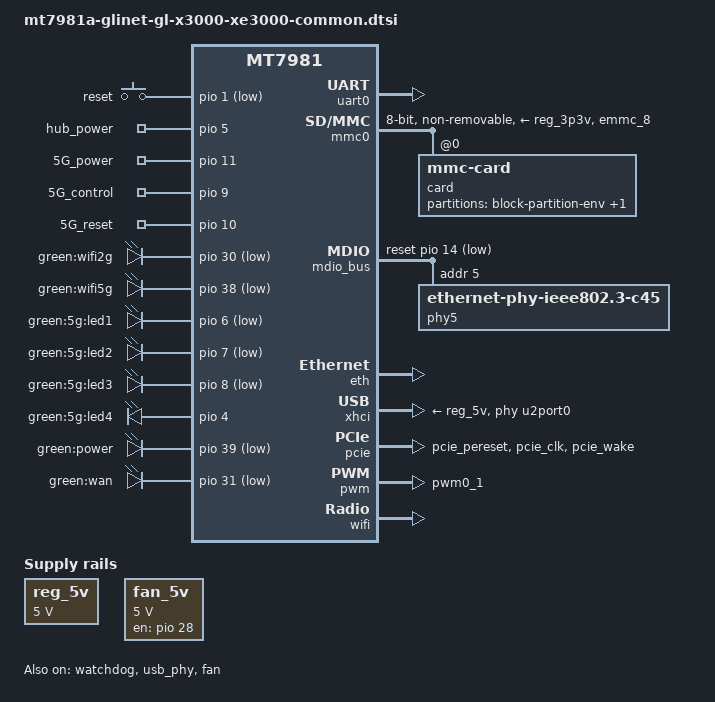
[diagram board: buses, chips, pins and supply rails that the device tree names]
// SPDX-License-Identifier: GPL-2.0-or-later OR MIT

/dts-v1/;

#include "mt7981.dtsi"

/ {
	chosen {
		bootargs = "console=ttyS0,115200n8 root=PARTLABEL=rootfs rootwait";
	};

	aliases {
		label-mac-device = &gmac0;
		led-boot = &led_power;
		led-failsafe = &led_power;
		led-running = &led_power;
		led-upgrade = &led_power;
	};

	reg_5v: regulator-5v {
		compatible = "regulator-fixed";
		regulator-name = "fixed-5V";
		regulator-min-microvolt = <5000000>;
		regulator-max-microvolt = <5000000>;
		regulator-boot-on;
		regulator-always-on;
	};

	fan_5v: regulator-fan-5v {
		compatible = "regulator-fixed";
		regulator-name = "fan";
		regulator-min-microvolt = <5000000>;
		regulator-max-microvolt = <5000000>;
		gpio = <&pio 28 GPIO_ACTIVE_HIGH>;
		enable-active-high;
	};

	gpio-keys {
		compatible = "gpio-keys";

		reset {
			label = "reset";
			linux,code = <KEY_RESTART>;
			gpios = <&pio 1 GPIO_ACTIVE_LOW>;
		};
	};

	gpio-export {
		compatible = "gpio-export";

		hub_power {
			gpio-export,name = "hub_power";
			gpio-export,output = <1>;
			gpios = <&pio 5 GPIO_ACTIVE_HIGH>;
		};

		5G_power {
			gpio-export,name = "5G_power";
			gpio-export,output = <1>;
			gpios = <&pio 11 GPIO_ACTIVE_HIGH>;
		};

		5G_control {
			gpio-export,name = "5G_control";
			gpio-export,output = <1>;
			gpios = <&pio 9 GPIO_ACTIVE_HIGH>;
		};

		5G_reset {
			gpio-export,name = "5G_reset";
			gpio-export,output = <0>;
			gpios = <&pio 10 GPIO_ACTIVE_HIGH>;
		};
	};

	leds {
		compatible = "gpio-leds";

		wifi2g {
			label = "green:wifi2g";
			gpios = <&pio 30 GPIO_ACTIVE_LOW>;
		};

		wifi5g {
			label = "green:wifi5g";
			gpios = <&pio 38 GPIO_ACTIVE_LOW>;
		};

		5g_led1 {
			label = "green:5g:led1";
			gpios = <&pio 6 GPIO_ACTIVE_LOW>;
		};

		5g_led2 {
			label = "green:5g:led2";
			gpios = <&pio 7 GPIO_ACTIVE_LOW>;
		};

		5g_led3 {
			label = "green:5g:led3";
			gpios = <&pio 8 GPIO_ACTIVE_LOW>;
		};

		5g_led4 {
			label = "green:5g:led4";
			gpios = <&pio 4 GPIO_ACTIVE_HIGH>;
		};

		led_power: power {
			label = "green:power";
			gpios = <&pio 39 GPIO_ACTIVE_LOW>;
		};

		wan {
			label = "green:wan";
			gpios = <&pio 31 GPIO_ACTIVE_LOW>;
		};
	};
};

&uart0 {
	status = "okay";
};

&watchdog {
	status = "okay";
};

&mmc0 {
	pinctrl-names = "default", "state_uhs";
	pinctrl-0 = <&mmc0_pins_default>;
	pinctrl-1 = <&mmc0_pins_uhs>;
	bus-width = <8>;
	max-frequency = <52000000>;
	cap-mmc-highspeed;
	vmmc-supply = <&reg_3p3v>;
	non-removable;
	status = "okay";

	card@0 {
		compatible = "mmc-card";
		reg = <0>;

		block {
			compatible = "block-device";
			partitions {
				block-partition-env {
					partname = "u-boot-env";

					nvmem-layout {
						compatible = "u-boot,env-layout";
					};
				};

				block-partition-factory {
					partname = "factory";

					nvmem-layout {
						compatible = "fixed-layout";
						#address-cells = <1>;
						#size-cells = <1>;

						eeprom_factory_0: eeprom@0 {
							reg = <0x0 0x1000>;
						};

						macaddr_factory_a: macaddr@a {
							compatible = "mac-base";
							reg = <0xa 0x6>;
							#nvmem-cell-cells = <1>;
						};
					};
				};
			};
		};
	};
};

&mdio_bus {
	reset-gpios = <&pio 14 GPIO_ACTIVE_LOW>;
	reset-delay-us = <600>;
	reset-post-delay-us = <20000>;

	phy5: ethernet-phy@5 {
		reg = <5>;
		compatible = "ethernet-phy-ieee802.3-c45";
	};
};

&eth {
	status = "okay";

	gmac0: mac@0 {
		compatible = "mediatek,eth-mac";
		reg = <0>;
		phy-mode = "2500base-x";
		phy-handle = <&phy5>;
		nvmem-cells = <&macaddr_factory_a 0>;
		nvmem-cell-names = "mac-address";
	};

	gmac1: mac@1 {
		compatible = "mediatek,eth-mac";
		reg = <1>;
		phy-mode = "gmii";
		phy-handle = <&int_gbe_phy>;
		nvmem-cells = <&macaddr_factory_a 1>;
		nvmem-cell-names = "mac-address";
	};
};

&pio {
	mmc0_pins_default: mmc0-pins-default {
		mux {
			function = "flash";
			groups = "emmc_8";
		};
	};
	mmc0_pins_uhs: mmc0-pins-uhs {
		mux {
			function = "flash";
			groups = "emmc_8";
		};
	};
	pcie_pins: pcie-pins {
		mux {
			function = "pcie";
			groups = "pcie_pereset", "pcie_clk", "pcie_wake";
		};
	};
	pwm0_pin: pwm0-pin-g0 {
		mux {
			function = "pwm";
			groups = "pwm0_1";
		};
	};
};

&xhci {
	phys = <&u2port0 PHY_TYPE_USB2>;
	vbus-supply = <&reg_5v>;
	mediatek,u3p-dis-msk = <0x01>;
	status = "okay";
};

&usb_phy {
	status = "okay";
};

&pcie {
	pinctrl-names = "default";
	pinctrl-0 = <&pcie_pins>;
	status = "okay";
};

&pwm {
	pinctrl-names = "default";
	pinctrl-0 = <&pwm0_pin>;
};

&wifi {
	nvmem-cells = <&eeprom_factory_0>;
	nvmem-cell-names = "eeprom";
	status = "okay";
};

&fan {
	pwms = <&pwm 0 40000 0>;
	fan-supply = <&fan_5v>;
	interrupt-parent = <&pio>;
	interrupts = <29 IRQ_TYPE_EDGE_RISING>;
	status = "okay";
};
